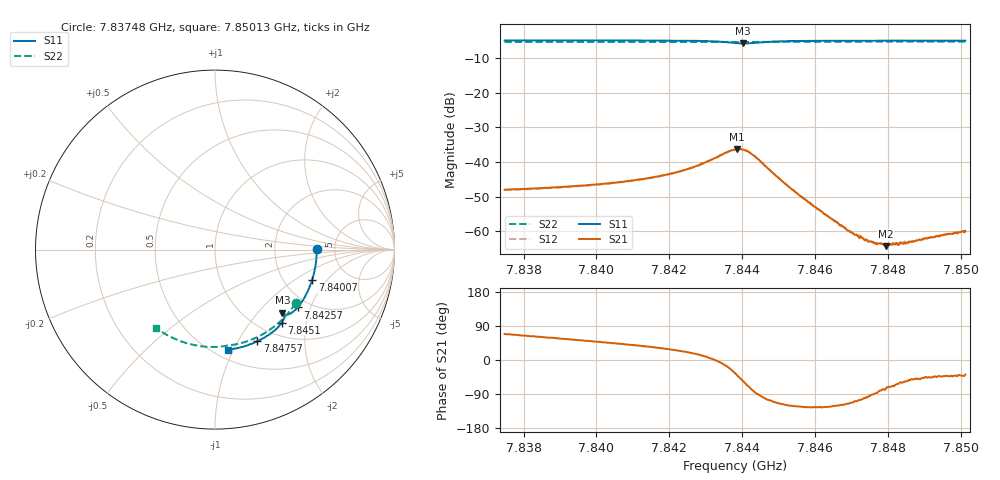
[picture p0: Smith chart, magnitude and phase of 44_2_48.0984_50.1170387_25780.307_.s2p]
#  HZ  S  RI  R  50.00
! Rohde & Schwarz Vector Network Analyzer
! Rohde-Schwarz,ZNB20-2Port,1311601062101988,3.16
! Created: UTC 12/23/2023, 3:39:05 AM
! freq[Hz]  re:S11  im:S11  re:S21  im:S21  re:S12  im:S12  re:S22  im:S22
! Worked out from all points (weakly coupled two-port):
!   401 points, 7.83748 GHz to 7.85013 GHz, reference 50 ohm
!   highest |S21| = -36.20 dB at 7.84387 GHz (marker M1); lowest = -64.2 dB at 7.84795 GHz (marker M2)
!   lowest |S11| = -5.8 dB at 7.84403 GHz (marker M3), VSWR 3.11, Z = 71.7 - j68.3 ohm
!   |S11| at or under -10 dB: nowhere
!   |S22| runs from -5.4 to -5.3 dB; largest |S21 - S12| = 0.00034
!   S11 on the Smith chart (normalised r, x): 7.83748 GHz: 3.61, +0.03; 7.84007 GHz: 2.85, -1.41; 7.84257 GHz: 1.73, -1.63; 7.8451 GHz: 1.24, -1.46; 7.84757 GHz: 0.81, -1.21; 7.85013 GHz: 0.58, -0.95
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7.837479e9  0.5665 0.0031  0.00145 0.00372  0.00146 0.00367  0.4496 -0.2991
7.839598e9  0.5502 -0.1371  0.00284 0.00359  0.00279 0.00358  0.3518 -0.4107
7.840073e9  0.5415 -0.1679  0.00321 0.00352  0.00318 0.00352  0.3259 -0.4315
7.8408e9  0.5247 -0.2143  0.00397 0.00348  0.0039 0.00347  0.2841 -0.4605
7.841718e9  0.4964 -0.2712  0.00529 0.00332  0.00523 0.00333  0.2275 -0.4913
7.842572e9  0.4603 -0.3221  0.00771 0.00268  0.00765 0.0027  0.1715 -0.5136
7.843363e9  0.4106 -0.3604  0.0122 -0.000977  0.0121 -0.000906  0.1177 -0.5276
7.843805e9  0.3784 -0.359  0.0125 -0.00857  0.0126 -0.0086  0.0881 -0.532
7.843869e9  0.3759 -0.3565  0.0117 -0.0102  0.0118 -0.00998  0.084 -0.5325
7.844027e9  0.3751 -0.3509  0.00854 -0.0125  0.00849 -0.0125  0.074 -0.5337
7.844153e9  0.3786 -0.3498  0.00536 -0.0133  0.00542 -0.0133  0.0662 -0.5352
7.844343e9  0.3847 -0.3556  0.00122 -0.0121  0.00135 -0.0122  0.0539 -0.5376
7.845102e9  0.3726 -0.407  -0.00235 -0.00474  -0.00239 -0.00479  0.000895 -0.5427
7.845925e9  0.3317 -0.4508  -0.00137 -0.00197  -0.00139 -0.00198  -0.0571 -0.5407
7.846905e9  0.276 -0.4899  -0.000444 -0.00093  -0.000408 -0.000934  -0.1253 -0.5297
7.847412e9  0.2457 -0.5063  -0.000102 -0.000747  -0.000102 -0.000753  -0.1597 -0.521
7.84757e9  0.2361 -0.5109  -1.03e-05 -0.000695  -3.16e-05 -0.000717  -0.1702 -0.5175
7.847949e9  0.2126 -0.5213  0.000158 -0.000593  0.000159 -0.00062  -0.1955 -0.5087
7.848044e9  0.2067 -0.5237  0.000218 -0.000612  0.000188 -0.000606  -0.2016 -0.5064
7.848487e9  0.1787 -0.534  0.000371 -0.000552  0.000406 -0.000574  -0.2303 -0.4944
7.849088e9  0.1402 -0.5452  0.000551 -0.000593  0.000552 -0.000558  -0.268 -0.4753
7.850132e9  0.0719 -0.558  0.000796 -0.000634  0.000792 -0.000655  -0.3296 -0.4357
